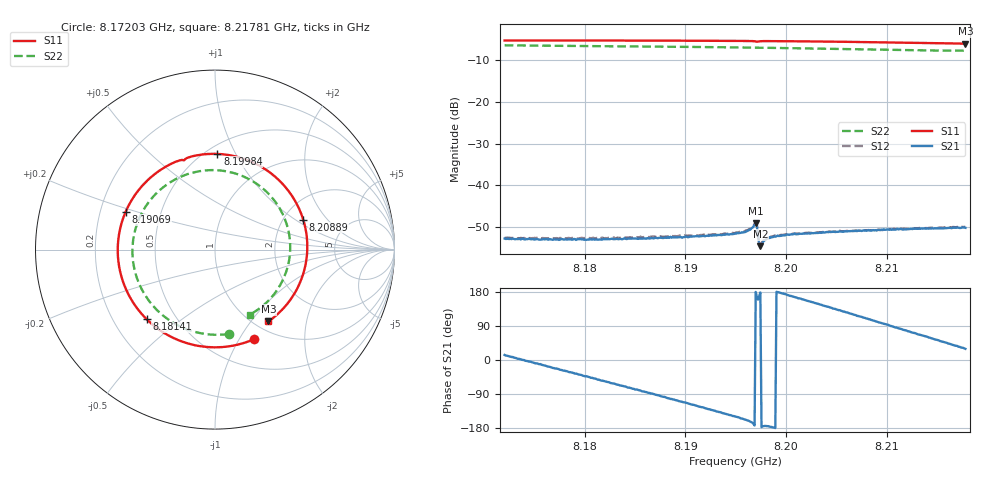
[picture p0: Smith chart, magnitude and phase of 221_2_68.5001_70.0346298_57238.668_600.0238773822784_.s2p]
#  HZ  S  RI  R  50.00
! Rohde & Schwarz Vector Network Analyzer
! Rohde-Schwarz,ZNB20-2Port,1311601062101988,3.16
! Created: UTC 3/20/2024, 4:58:33 PM
! freq[Hz]  re:S11  im:S11  re:S21  im:S21  re:S12  im:S12  re:S22  im:S22
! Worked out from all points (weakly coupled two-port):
!   401 points, 8.17203 GHz to 8.21781 GHz, reference 50 ohm
!   highest |S21| = -49.06 dB at 8.19698 GHz (marker M1); lowest = -54.6 dB at 8.19744 GHz (marker M2)
!   lowest |S11| = -6.0 dB at 8.21781 GHz (marker M3), VSWR 2.99, Z = 57.4 - j61.2 ohm
!   |S11| at or under -10 dB: nowhere
!   |S22| runs from -7.7 to -6.4 dB; largest |S21 - S12| = 0.00017
!   S11 on the Smith chart (normalised r, x): 8.17203 GHz: 0.81, -1.16; 8.18141 GHz: 0.34, -0.38; 8.19069 GHz: 0.31, +0.18; 8.19984 GHz: 0.57, +0.85; 8.20889 GHz: 2.55, +1.17; 8.21781 GHz: 1.15, -1.22
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8.172028e9  0.216 -0.4998  0.00224 0.000531  0.00229 0.000518  0.0769 -0.47
8.17592e9  -0.0439 -0.5428  0.0022 -0.000547  0.00225 -0.000578  -0.1426 -0.4492
8.179697e9  -0.2882 -0.4612  0.00173 -0.00144  0.00175 -0.00156  -0.3224 -0.3378
8.181414e9  -0.3813 -0.3875  0.00138 -0.00176  0.00146 -0.00187  -0.3832 -0.2634
8.184505e9  -0.5003 -0.2106  0.00065 -0.0022  0.000661 -0.00229  -0.4498 -0.1056
8.187366e9  -0.5418 -0.0165  -0.000148 -0.00234  -0.000211 -0.00241  -0.4561 0.0528
8.190686e9  -0.4981 0.21  -0.00114 -0.00215  -0.00124 -0.00218  -0.3956 0.2257
8.192746e9  -0.424 0.3336  -0.00173 -0.00186  -0.00181 -0.00186  -0.3247 0.3154
8.194921e9  -0.3123 0.438  -0.00226 -0.00136  -0.00236 -0.00126  -0.2276 0.3877
8.195951e9  -0.2496 0.4753  -0.00255 -0.00106  -0.00267 -0.00102  -0.1753 0.4124
8.196867e9  -0.1866 0.4991  -0.00334 -0.000418  -0.00343 -0.000315  -0.1262 0.4283
8.196982e9  -0.178 0.4992  -0.00352 3.04e-05  -0.00358 0.00014  -0.12 0.4298
8.19744e9  -0.1575 0.5095  -0.00187 6.04e-05  -0.00192 0.000145  -0.095 0.4354
8.197554e9  -0.1493 0.513  -0.00197 -0.000101  -0.00204 -3.9e-05  -0.0887 0.4366
8.198584e9  -0.0761 0.5291  -0.00239 -0.000136  -0.00244 -1.93e-05  -0.0305 0.4426
8.199843e9  0.0131 0.5332  -0.00251 0.000256  -0.00252 0.000404  0.0408 0.4394
8.202591e9  0.2014 0.4901  -0.00238 0.00123  -0.00237 0.00134  0.19 0.3924
8.20591e9  0.3893 0.3517  -0.00166 0.00228  -0.00159 0.00233  0.3352 0.2677
8.208886e9  0.4913 0.1675  -0.000608 0.00284  -0.000593 0.00286  0.4085 0.108
8.21026e9  0.5113 0.0715  -7.43e-05 0.00294  -1.22e-05 0.00297  0.4189 0.0258
8.213808e9  0.4762 -0.178  0.0014 0.0027  0.00148 0.00269  0.3701 -0.1849
8.217815e9  0.2974 -0.4003  0.0027 0.00152  0.00282 0.0015  0.1923 -0.3631
